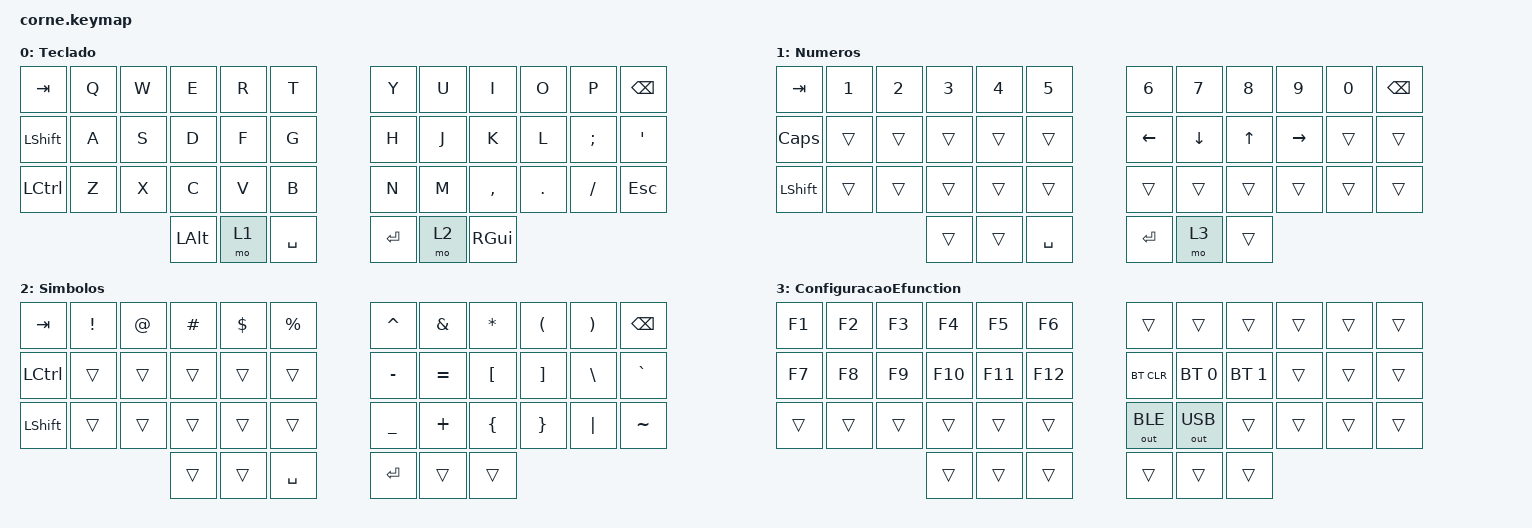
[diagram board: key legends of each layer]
/*
 * Copyright (c) 2020 The ZMK Contributors
 *
 * SPDX-License-Identifier: MIT
 */

#include <behaviors.dtsi>
#include <dt-bindings/zmk/bt.h>
#include <dt-bindings/zmk/keys.h>
#include <dt-bindings/zmk/outputs.h>

/ {
    keymap {
        compatible = "zmk,keymap";

        Teclado {
            // -----------------------------------------------------------------------------------------
            // |  TAB |  Q  |  W  |  E  |  R  |  T  |   |  Y  |  U   |  I  |  O  |  P  | BKSP |
            // | CTRL |  A  |  S  |  D  |  F  |  G  |   |  H  |  J   |  K  |  L  |  ;  |  '   |
            // | SHFT |  Z  |  X  |  C  |  V  |  B  |   |  N  |  M   |  ,  |  .  |  /  | ESC  |
            //                    | GUI | LWR | SPC |   | ENT | RSE  | ALT |

            bindings = <
&kp TAB         &kp Q  &kp W  &kp E         &kp R  &kp T        &kp Y    &kp U  &kp I          &kp O    &kp P     &kp BSPC
&kp LEFT_SHIFT  &kp A  &kp S  &kp D         &kp F  &kp G        &kp H    &kp J  &kp K          &kp L    &kp SEMI  &kp SQT
&kp LCTRL       &kp Z  &kp X  &kp C         &kp V  &kp B        &kp N    &kp M  &kp COMMA      &kp DOT  &kp FSLH  &kp ESC
                              &kp LEFT_ALT  &mo 1  &kp SPACE    &kp RET  &mo 2  &kp RIGHT_GUI
            >;
        };

        Numeros {
            // -----------------------------------------------------------------------------------------
            // |  TAB |  1  |  2  |  3  |  4  |  5  |   |  6  |  7  |  8  |  9  |  0  | BKSP |
            // | BTCLR| BT1 | BT2 | BT3 | BT4 | BT5 |   | LFT | DWN |  UP | RGT |     |      |
            // | SHFT |     |     |     |     |     |   |     |     |     |     |     |      |
            //                    | GUI |     | SPC |   | ENT |     | ALT |

            bindings = <
&kp TAB       &kp N1  &kp N2  &kp N3  &kp N4  &kp N5       &kp N6    &kp N7    &kp N8  &kp N9     &kp N0  &kp BSPC
&kp CAPSLOCK  &trans  &trans  &trans  &trans  &trans       &kp LEFT  &kp DOWN  &kp UP  &kp RIGHT  &trans  &trans
&kp LSHFT     &trans  &trans  &trans  &trans  &trans       &trans    &trans    &trans  &trans     &trans  &trans
                              &trans  &trans  &kp SPACE    &kp RET   &mo 3     &trans
            >;
        };

        Simbolos {
            // -----------------------------------------------------------------------------------------
            // |  TAB |  !  |  @  |  #  |  $  |  %  |   |  ^  |  &  |  *  |  (  |  )  | BKSP |
            // | CTRL |     |     |     |     |     |   |  -  |  =  |  [  |  ]  |  \  |  `   |
            // | SHFT |     |     |     |     |     |   |  _  |  +  |  {  |  }  | "|" |  ~   |
            //                    | GUI |     | SPC |   | ENT |     | ALT |

            bindings = <
&kp TAB    &kp EXCL  &kp AT  &kp HASH  &kp DLLR  &kp PRCNT    &kp CARET  &kp AMPS   &kp ASTRK  &kp LPAR  &kp RPAR  &kp BSPC
&kp LCTRL  &trans    &trans  &trans    &trans    &trans       &kp MINUS  &kp EQUAL  &kp LBKT   &kp RBKT  &kp BSLH  &kp GRAVE
&kp LSHFT  &trans    &trans  &trans    &trans    &trans       &kp UNDER  &kp PLUS   &kp LBRC   &kp RBRC  &kp PIPE  &kp TILDE
                             &trans    &trans    &kp SPACE    &kp RET    &trans     &trans
            >;
        };

        ConfiguracaoEfunction {
            bindings = <
&kp F1  &kp F2  &kp F3  &kp F4   &kp F5   &kp F6     &trans        &trans        &trans        &trans  &trans  &trans
&kp F7  &kp F8  &kp F9  &kp F10  &kp F11  &kp F12    &bt BT_CLR    &bt BT_SEL 0  &bt BT_SEL 1  &trans  &trans  &trans
&trans  &trans  &trans  &trans   &trans   &trans     &out OUT_BLE  &out OUT_USB  &trans        &trans  &trans  &trans
                        &trans   &trans   &trans     &trans        &trans        &trans
            >;
        };
    };
};
